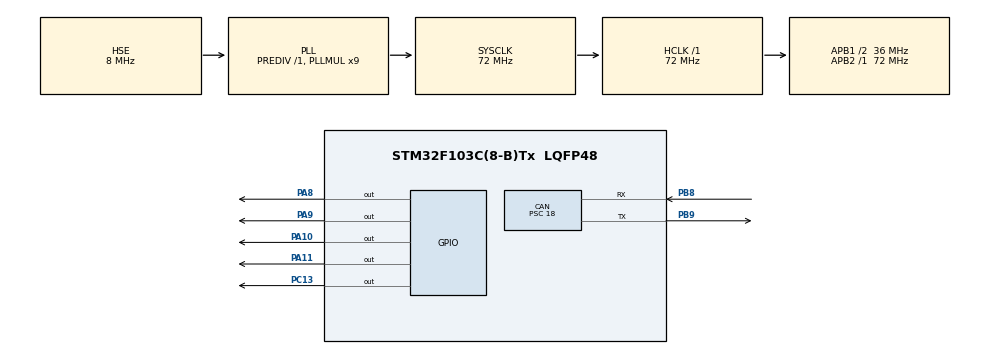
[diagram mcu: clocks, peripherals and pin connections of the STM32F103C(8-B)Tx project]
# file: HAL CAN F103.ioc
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CAN.BS1=CAN_BS1_12TQ
CAN.BS2=CAN_BS2_3TQ
CAN.CalculateTimeBit=8000
CAN.CalculateTimeQuantum=500.0
CAN.Prescaler=18
Mcu.Family=STM32F1
Mcu.Name=STM32F103C(8-B)Tx
Mcu.Package=LQFP48
NVIC.PriorityGroup=NVIC_PRIORITYGROUP_4
NVIC.USB_LP_CAN1_RX0_IRQn=true\:1\:0\:true\:false\:true\:true\:true
PA10.Signal=GPIO_Output
PA11.Signal=GPIO_Output
PA8.Signal=GPIO_Output
PA9.Signal=GPIO_Output
PB8.Mode=Master
PB8.Signal=CAN_RX
PB9.Mode=Master
PB9.Signal=CAN_TX
PC13-TAMPER-RTC.Signal=GPIO_Output
PC14-OSC32_IN.Mode=LSE-External-Oscillator
PC14-OSC32_IN.Signal=RCC_OSC32_IN
PC15-OSC32_OUT.Mode=LSE-External-Oscillator
PC15-OSC32_OUT.Signal=RCC_OSC32_OUT
PD0-OSC_IN.Mode=HSE-External-Oscillator
PD0-OSC_IN.Signal=RCC_OSC_IN
PD1-OSC_OUT.Mode=HSE-External-Oscillator
PD1-OSC_OUT.Signal=RCC_OSC_OUT
ProjectManager.HeapSize=0x200
ProjectManager.StackSize=0x400
ProjectManager.TargetToolchain=TrueSTUDIO
RCC.AHBFreq_Value=72000000
RCC.APB1CLKDivider=RCC_HCLK_DIV2
RCC.APB1Freq_Value=36000000
RCC.APB1TimFreq_Value=72000000
RCC.APB2Freq_Value=72000000
RCC.APB2TimFreq_Value=72000000
RCC.HCLKFreq_Value=72000000
RCC.PLLMUL=RCC_PLL_MUL9
RCC.PLLSourceVirtual=RCC_PLLSOURCE_HSE
RCC.SYSCLKFreq_VALUE=72000000
RCC.SYSCLKSource=RCC_SYSCLKSOURCE_PLLCLK
RCC.USBFreq_Value=72000000
VP_SYS_VS_ND.Mode=No_Debug
board=custom

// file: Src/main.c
/* USER CODE BEGIN Header */
/**
  ******************************************************************************
  * @file           : main.c
  * @brief          : Main program body
  ******************************************************************************
  * @attention
  *
  * <h2><center>&copy; Copyright (c) 2019 STMicroelectronics.
  * All rights reserved.</center></h2>
  *
  * This software component is licensed by ST under BSD 3-Clause license,
  * the "License"; You may not use this file except in compliance with the
  * License. You may obtain a copy of the License at:
  *                        opensource.org/licenses/BSD-3-Clause
  *
  ******************************************************************************
  */
/* USER CODE END Header */

#include "main.h"

CAN_HandleTypeDef hcan1;

/* USER CODE BEGIN PV */
CAN_HandleTypeDef hcan1;
CAN_TxHeaderTypeDef pHeader;
CAN_RxHeaderTypeDef pRxHeader;
CAN_FilterTypeDef sFilterConfig;
uint32_t TxMailbox;
//uint8_t speed = 1;
uint8_t f;
uint8_t a;
uint8_t r;
uint8_t speed, side;
/* USER CODE END PV */

void SystemClock_Config(void);
static void MX_GPIO_Init(void);
static void MX_CAN_Init(void);

int main(void)
{
  /* USER CODE BEGIN 1 */
	void moveForward(uint8_t speed) {
	 for (int i=0; i<512; i++)
		{
		HAL_GPIO_WritePin (GPIOA, GPIO_PIN_8, GPIO_PIN_SET);
		HAL_GPIO_WritePin (GPIOA, GPIO_PIN_9, GPIO_PIN_RESET);
		HAL_GPIO_WritePin (GPIOA, GPIO_PIN_10, GPIO_PIN_RESET);
		HAL_GPIO_WritePin (GPIOA, GPIO_PIN_11, GPIO_PIN_RESET);
		HAL_Delay (speed);
		HAL_GPIO_WritePin (GPIOA, GPIO_PIN_8, GPIO_PIN_SET);
		HAL_GPIO_WritePin (GPIOA, GPIO_PIN_9, GPIO_PIN_SET);
		HAL_GPIO_WritePin (GPIOA, GPIO_PIN_10, GPIO_PIN_RESET);
		HAL_GPIO_WritePin (GPIOA, GPIO_PIN_11, GPIO_PIN_RESET);
		HAL_Delay (speed);
		HAL_GPIO_WritePin (GPIOA, GPIO_PIN_8, GPIO_PIN_RESET);
		HAL_GPIO_WritePin (GPIOA, GPIO_PIN_9, GPIO_PIN_SET);
		HAL_GPIO_WritePin (GPIOA, GPIO_PIN_10, GPIO_PIN_RESET);
		HAL_GPIO_WritePin (GPIOA, GPIO_PIN_11, GPIO_PIN_RESET);
		HAL_Delay (speed);
		HAL_GPIO_WritePin (GPIOA, GPIO_PIN_8, GPIO_PIN_RESET);
		HAL_GPIO_WritePin (GPIOA, GPIO_PIN_9, GPIO_PIN_SET);
		HAL_GPIO_WritePin (GPIOA, GPIO_PIN_10, GPIO_PIN_SET);
		HAL_GPIO_WritePin (GPIOA, GPIO_PIN_11, GPIO_PIN_RESET);
		HAL_Delay (speed);
		HAL_GPIO_WritePin (GPIOA, GPIO_PIN_8, GPIO_PIN_RESET);
		HAL_GPIO_WritePin (GPIOA, GPIO_PIN_9, GPIO_PIN_RESET);
		HAL_GPIO_WritePin (GPIOA, GPIO_PIN_10, GPIO_PIN_SET);
		HAL_GPIO_WritePin (GPIOA, GPIO_PIN_11, GPIO_PIN_RESET);
		HAL_Delay (speed);
		HAL_GPIO_WritePin (GPIOA, GPIO_PIN_8, GPIO_PIN_RESET);
		HAL_GPIO_WritePin (GPIOA, GPIO_PIN_9, GPIO_PIN_RESET);
		HAL_GPIO_WritePin (GPIOA, GPIO_PIN_10, GPIO_PIN_SET);
		HAL_GPIO_WritePin (GPIOA, GPIO_PIN_11, GPIO_PIN_SET);
		HAL_Delay (speed);
		HAL_GPIO_WritePin (GPIOA, GPIO_PIN_8, GPIO_PIN_RESET);
		HAL_GPIO_WritePin (GPIOA, GPIO_PIN_9, GPIO_PIN_RESET);
		HAL_GPIO_WritePin (GPIOA, GPIO_PIN_10, GPIO_PIN_RESET);
		HAL_GPIO_WritePin (GPIOA, GPIO_PIN_11, GPIO_PIN_SET);
		HAL_Delay (speed);
		HAL_GPIO_WritePin (GPIOA, GPIO_PIN_8, GPIO_PIN_SET);
		HAL_GPIO_WritePin (GPIOA, GPIO_PIN_9, GPIO_PIN_RESET);
		HAL_GPIO_WritePin (GPIOA, GPIO_PIN_10, GPIO_PIN_RESET);
		HAL_GPIO_WritePin (GPIOA, GPIO_PIN_11, GPIO_PIN_SET);
		HAL_Delay (speed);
		}
	}
	void moveBackward(uint8_t speed) {
	 for (int i=0; i<512; i++)
		{
		HAL_GPIO_WritePin (GPIOA, GPIO_PIN_8, GPIO_PIN_SET);
		HAL_GPIO_WritePin (GPIOA, GPIO_PIN_9, GPIO_PIN_RESET);
		HAL_GPIO_WritePin (GPIOA, GPIO_PIN_10, GPIO_PIN_RESET);
		HAL_GPIO_WritePin (GPIOA, GPIO_PIN_11, GPIO_PIN_SET);
		HAL_Delay (speed);
		HAL_GPIO_WritePin (GPIOA, GPIO_PIN_8, GPIO_PIN_RESET);
		HAL_GPIO_WritePin (GPIOA, GPIO_PIN_9, GPIO_PIN_RESET);
		HAL_GPIO_WritePin (GPIOA, GPIO_PIN_10, GPIO_PIN_RESET);
		HAL_GPIO_WritePin (GPIOA, GPIO_PIN_11, GPIO_PIN_SET);
		HAL_Delay (speed);
		HAL_GPIO_WritePin (GPIOA, GPIO_PIN_8, GPIO_PIN_RESET);
		HAL_GPIO_WritePin (GPIOA, GPIO_PIN_9, GPIO_PIN_RESET);
		HAL_GPIO_WritePin (GPIOA, GPIO_PIN_10, GPIO_PIN_SET);
		HAL_GPIO_WritePin (GPIOA, GPIO_PIN_11, GPIO_PIN_SET);
		HAL_Delay (speed);
		HAL_GPIO_WritePin (GPIOA, GPIO_PIN_8, GPIO_PIN_RESET);
		HAL_GPIO_WritePin (GPIOA, GPIO_PIN_9, GPIO_PIN_RESET);
		HAL_GPIO_WritePin (GPIOA, GPIO_PIN_10, GPIO_PIN_SET);
		HAL_GPIO_WritePin (GPIOA, GPIO_PIN_11, GPIO_PIN_RESET);
		HAL_Delay (speed);
		HAL_GPIO_WritePin (GPIOA, GPIO_PIN_8, GPIO_PIN_RESET);
		HAL_GPIO_WritePin (GPIOA, GPIO_PIN_9, GPIO_PIN_SET);
		HAL_GPIO_WritePin (GPIOA, GPIO_PIN_10, GPIO_PIN_SET);
		HAL_GPIO_WritePin (GPIOA, GPIO_PIN_11, GPIO_PIN_RESET);
		HAL_Delay (speed);
		HAL_GPIO_WritePin (GPIOA, GPIO_PIN_8, GPIO_PIN_RESET);
		HAL_GPIO_WritePin (GPIOA, GPIO_PIN_9, GPIO_PIN_SET);
		HAL_GPIO_WritePin (GPIOA, GPIO_PIN_10, GPIO_PIN_RESET);
		HAL_GPIO_WritePin (GPIOA, GPIO_PIN_11, GPIO_PIN_RESET);
		HAL_Delay (speed);
		HAL_GPIO_WritePin (GPIOA, GPIO_PIN_8, GPIO_PIN_SET);
		HAL_GPIO_WritePin (GPIOA, GPIO_PIN_9, GPIO_PIN_SET);
		HAL_GPIO_WritePin (GPIOA, GPIO_PIN_10, GPIO_PIN_RESET);
		HAL_GPIO_WritePin (GPIOA, GPIO_PIN_11, GPIO_PIN_RESET);
		HAL_Delay (speed);
		HAL_GPIO_WritePin (GPIOA, GPIO_PIN_8, GPIO_PIN_SET);
		HAL_GPIO_WritePin (GPIOA, GPIO_PIN_9, GPIO_PIN_RESET);
		HAL_GPIO_WritePin (GPIOA, GPIO_PIN_10, GPIO_PIN_RESET);
		HAL_GPIO_WritePin (GPIOA, GPIO_PIN_11, GPIO_PIN_RESET);
		HAL_Delay (speed);
		}
	}
  /* USER CODE END 1 */

  /* MCU Configuration--------------------------------------------------------*/

  /* Reset of all peripherals, Initializes the Flash interface and the Systick. */
  HAL_Init();

  /* Configure the system clock */
  SystemClock_Config();

  /* Initialize all configured peripherals */
  MX_GPIO_Init();
  MX_CAN_Init();
  /* USER CODE BEGIN 2 */
  pHeader.DLC = 1;
  pHeader.IDE = CAN_ID_STD;
  pHeader.RTR = CAN_RTR_DATA;
  pHeader.StdId = 0x245;

  sFilterConfig.FilterFIFOAssignment = CAN_FILTER_FIFO0;
  sFilterConfig.FilterIdHigh = 0x244<<5;
  sFilterConfig.FilterIdLow = 0;
  sFilterConfig.FilterMaskIdHigh = 0;
  sFilterConfig.FilterMaskIdLow = 0;
  sFilterConfig.FilterScale = CAN_FILTERSCALE_16BIT;
  sFilterConfig.FilterMode = CAN_FILTERMODE_IDLIST;
  sFilterConfig.FilterActivation = ENABLE;
  HAL_CAN_ConfigFilter(&hcan1, &sFilterConfig);

  HAL_CAN_Start(&hcan1);
  HAL_CAN_ActivateNotification(&hcan1, CAN_IT_RX_FIFO0_MSG_PENDING);
  /* USER CODE END 2 */

  /* Infinite loop */
  while (1)
  {
//	if (side == 1) {
//		moveForward(speed);
//	}
//	else if (side == 2) {
//		moveBackward(speed);
//	}
//	else if (side == 0) {
//
//	}
//	HAL_CAN_AddTxMessage(&hcan1, &pHeader, &f, &TxMailbox);
//	HAL_GPIO_TogglePin(GPIOC,GPIO_PIN_13);
//	f++;
//	HAL_Delay(4000);
    /* USER CODE BEGIN 3 */
//	  moveForward(1);
//	  HAL_Delay(5000);
//	  moveBackward(1);
//	  HAL_Delay(5000);

  }
  /* USER CODE END 3 */
}

void SystemClock_Config(void)
{
  RCC_OscInitTypeDef RCC_OscInitStruct = {0};
  RCC_ClkInitTypeDef RCC_ClkInitStruct = {0};

  /** Initializes the CPU, AHB and APB busses clocks
  */
  RCC_OscInitStruct.OscillatorType = RCC_OSCILLATORTYPE_HSE;
  RCC_OscInitStruct.HSEState = RCC_HSE_ON;
  RCC_OscInitStruct.HSEPredivValue = RCC_HSE_PREDIV_DIV1;
  RCC_OscInitStruct.HSIState = RCC_HSI_ON;
  RCC_OscInitStruct.PLL.PLLState = RCC_PLL_ON;
  RCC_OscInitStruct.PLL.PLLSource = RCC_PLLSOURCE_HSE;
  RCC_OscInitStruct.PLL.PLLMUL = RCC_PLL_MUL9;
  if (HAL_RCC_OscConfig(&RCC_OscInitStruct) != HAL_OK)
  {
    Error_Handler();
  }
  /** Initializes the CPU, AHB and APB busses clocks
  */
  RCC_ClkInitStruct.ClockType = RCC_CLOCKTYPE_HCLK|RCC_CLOCKTYPE_SYSCLK
                              |RCC_CLOCKTYPE_PCLK1|RCC_CLOCKTYPE_PCLK2;
  RCC_ClkInitStruct.SYSCLKSource = RCC_SYSCLKSOURCE_PLLCLK;
  RCC_ClkInitStruct.AHBCLKDivider = RCC_SYSCLK_DIV1;
  RCC_ClkInitStruct.APB1CLKDivider = RCC_HCLK_DIV2;
  RCC_ClkInitStruct.APB2CLKDivider = RCC_HCLK_DIV1;

  if (HAL_RCC_ClockConfig(&RCC_ClkInitStruct, FLASH_LATENCY_2) != HAL_OK)
  {
    Error_Handler();
  }
}

static void MX_CAN_Init(void)
{

  hcan1.Instance = CAN1;
  hcan1.Init.Prescaler = 18;
  hcan1.Init.Mode = CAN_MODE_NORMAL;
  hcan1.Init.SyncJumpWidth = CAN_SJW_1TQ;
  hcan1.Init.TimeSeg1 = CAN_BS1_12TQ;
  hcan1.Init.TimeSeg2 = CAN_BS2_4TQ;
  hcan1.Init.TimeTriggeredMode = DISABLE;
  hcan1.Init.AutoBusOff = DISABLE;
  hcan1.Init.AutoWakeUp = DISABLE;
  hcan1.Init.AutoRetransmission = DISABLE;
  hcan1.Init.ReceiveFifoLocked = DISABLE;
  hcan1.Init.TransmitFifoPriority = DISABLE;
  if (HAL_CAN_Init(&hcan1) != HAL_OK)
  {
    Error_Handler();
  }

}

static void MX_GPIO_Init(void)
{
  GPIO_InitTypeDef GPIO_InitStruct = {0};

  /* GPIO Ports Clock Enable */
  __HAL_RCC_GPIOC_CLK_ENABLE();
  __HAL_RCC_GPIOD_CLK_ENABLE();
  __HAL_RCC_GPIOA_CLK_ENABLE();
  __HAL_RCC_GPIOB_CLK_ENABLE();

  /*Configure GPIO pin Output Level */
  HAL_GPIO_WritePin(GPIOC, GPIO_PIN_13, GPIO_PIN_RESET);

  /*Configure GPIO pin Output Level */
  HAL_GPIO_WritePin(GPIOA, GPIO_PIN_8|GPIO_PIN_9|GPIO_PIN_10|GPIO_PIN_11, GPIO_PIN_RESET);

  /*Configure GPIO pin : PC13 */
  GPIO_InitStruct.Pin = GPIO_PIN_13;
  GPIO_InitStruct.Mode = GPIO_MODE_OUTPUT_PP;
  GPIO_InitStruct.Pull = GPIO_NOPULL;
  GPIO_InitStruct.Speed = GPIO_SPEED_FREQ_LOW;
  HAL_GPIO_Init(GPIOC, &GPIO_InitStruct);

  /*Configure GPIO pins : PA8 PA9 PA10 PA11 */
  GPIO_InitStruct.Pin = GPIO_PIN_8|GPIO_PIN_9|GPIO_PIN_10|GPIO_PIN_11;
  GPIO_InitStruct.Mode = GPIO_MODE_OUTPUT_PP;
  GPIO_InitStruct.Pull = GPIO_NOPULL;
  GPIO_InitStruct.Speed = GPIO_SPEED_FREQ_LOW;
  HAL_GPIO_Init(GPIOA, &GPIO_InitStruct);

}

void Error_Handler(void)
{
}

/************************ (C) COPYRIGHT STMicroelectronics *****END OF FILE****/
